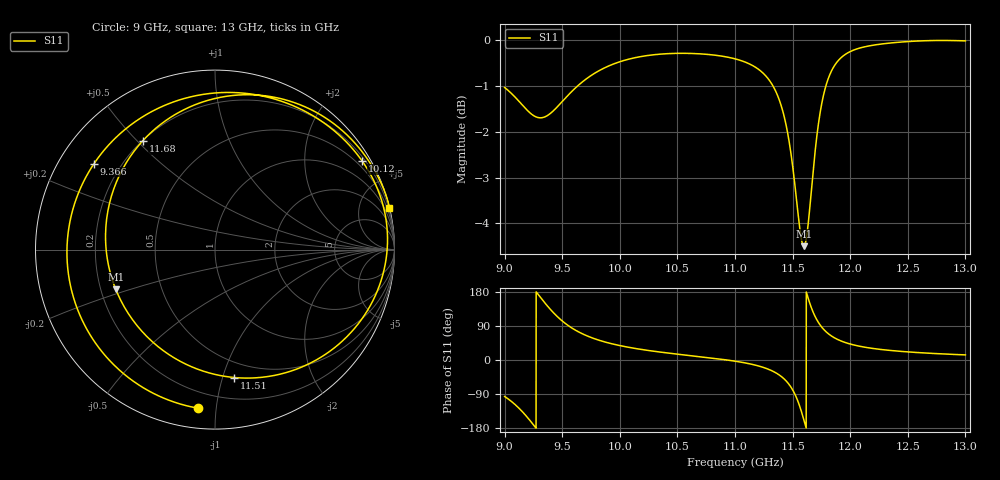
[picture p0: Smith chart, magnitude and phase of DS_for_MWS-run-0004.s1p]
! TOUCHSTONE file generated by CST DESIGN STUDIO
! Date and time: Tue Feb  4 16:41:35 2025
! Project name: C:\Work\MatlabApps\UnitCellOptimizationMatlab\CST\unitcell.cst
! Tree item: Tasks\Sweep1\SPara1\S-Parameters
! Header version: 2024
! Port assignment regex: !\s*Touchstone port\s*([0-9]+)\s*=\s*(CST MWS port|CST DES external port|CST DES block port)\s*(.+)\s* \(\"(.*)\"\)(\s*mode\s*([0-9]+))?.*
! Touchstone port assignment:
! Touchstone port 1 = CST DES external port 1 ("")
# GHz S MA R 50
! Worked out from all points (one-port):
!   4001 points, 9 GHz to 13 GHz, reference 50 ohm
!   lowest |S11| = -4.5 dB at 11.6 GHz (marker M1), VSWR 3.95, Z = 13.1 - j8.96 ohm
!   |S11| at or under -10 dB: nowhere
!   S11 on the Smith chart (normalised r, x): 9 GHz: 0.11, -0.89; 9.366 GHz: 0.10, +0.32; 10.12 GHz: 0.30, +3.57; 11.51 GHz: 0.37, -1.09; 11.68 GHz: 0.20, +0.52; 13 GHz: 0.04, +8.47
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9  0.8883 -96.3
9.116  0.8604 -124.6
9.225  0.8323 -161.4
9.294  0.8233 171.9
9.366  0.8269 144.6
9.431  0.8395 122.6
9.5  0.8574 103.1
9.608  0.8857 79.9
9.719  0.9097 63.3
10  0.9478 38.1
10.121  0.9569 31.1
10.5  0.9681 15.4
11  0.9548 -3.1
11.203  0.9302 -15.6
11.333  0.8902 -30.3
11.425  0.8275 -49.5
11.5  0.7294 -78.6
11.505  0.721 -81.3
11.552  0.6388 -113.7
11.598  0.5956 -158.3
11.637  0.6327 161.2
11.682  0.7276 123.6
11.74  0.8353 91.9
11.823  0.9176 66.4
11.901  0.9521 52.8
12  0.9724 42.1
12.5  0.9973 21.4
13  0.999 13.5
